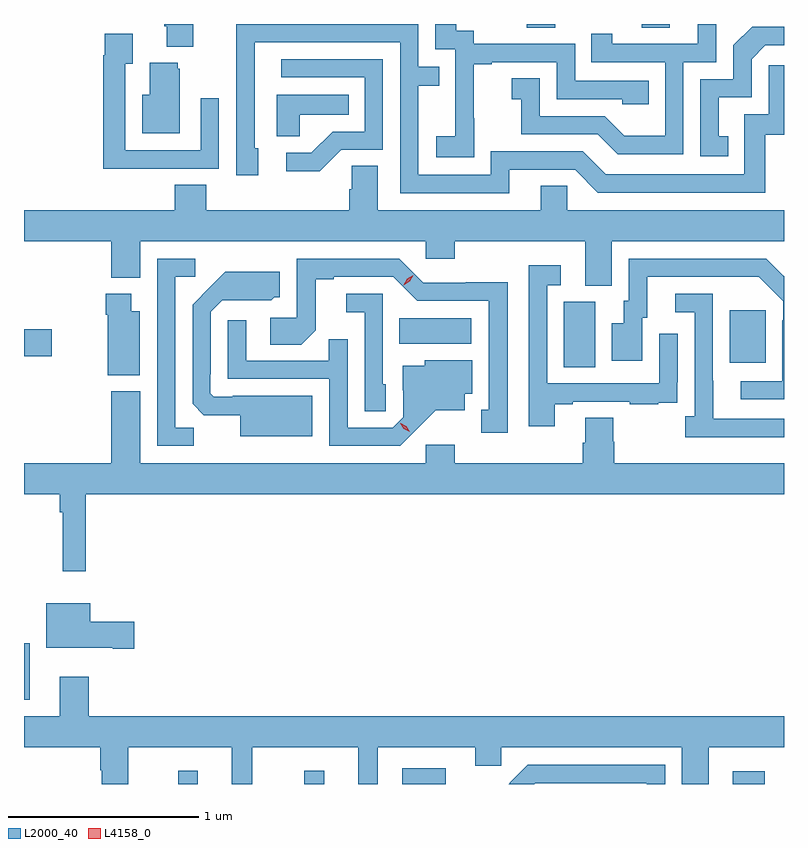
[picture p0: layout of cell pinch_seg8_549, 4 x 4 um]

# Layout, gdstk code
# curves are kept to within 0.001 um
import gdstk
lib = gdstk.Library(unit=1e-6, precision=1e-09)
def R(c, l, rs):  # rectangles x0, y0, x1, y1
    for r in rs: c.add(gdstk.rectangle(r[:2], r[2:], *l))
def P(c, l, *ps):  # polygons
    for p in ps: c.add(gdstk.Polygon(p, *l))
L2000_40 = (2000, 40)
L4158_0 = (4158, 0)

pinch_seg8_549 = lib.new_cell('pinch_seg8_549')
R(pinch_seg8_549, L2000_40, [(135.095,1120.303,135.199,1120.372), (135.759,1120.303,135.865,1120.372), (136.275,1120.303,136.504,1120.387), (138.015,1120.303,138.183,1120.369), (134.284,1120.746,134.314,1121.043), (137.126,1122.496,137.29,1122.84), (137.999,1122.521,138.187,1122.796), (134.284,1122.554,134.431,1122.696), (136.258,1122.62,136.639,1122.754), (136.931,1124.284,137.079,1124.303), (137.536,1124.284,137.683,1124.303)])
P(pinch_seg8_549, L2000_40, [(136.653,1123.807),(136.652,1123.807),(136.652,1124.091),(136.747,1124.091),(136.747,1124.103),(137.088,1124.103),(137.088,1123.908),(137.433,1123.908),(137.433,1123.881),(137.573,1123.881),(137.573,1124.004),(137.184,1124.004),(137.184,1124.199),(136.65,1124.199),(136.65,1124.268),(136.558,1124.268),(136.558,1124.303),(136.449,1124.303),(136.449,1124.169),(136.554,1124.169),(136.554,1123.94),(136.553,1123.94),(136.553,1123.711),(136.455,1123.711),(136.455,1123.601),(136.653,1123.601)],
  [(137.754,1124.103),(137.928,1124.103),(137.928,1124.303),(137.831,1124.303),(137.831,1124.199),(137.38,1124.199),(137.38,1124.251),(137.269,1124.251),(137.269,1124.103),(137.658,1124.103),(137.658,1123.714),(137.444,1123.714),(137.34,1123.818),(136.998,1123.818),(136.998,1124.017),(136.851,1124.017),(136.851,1123.907),(136.9,1123.907),(136.9,1123.722),(137.303,1123.722),(137.408,1123.617),(137.754,1123.617)],
  [(136.837,1123.536),(137.184,1123.536),(137.304,1123.416),(138.184,1123.416),(138.184,1123.719),(138.284,1123.719),(138.284,1124.086),(138.204,1124.086),(138.204,1123.827),(138.075,1123.827),(138.075,1123.512),(137.346,1123.512),(137.226,1123.632),(136.74,1123.632),(136.74,1123.509),(136.359,1123.509),(136.359,1123.978),(136.469,1123.978),(136.469,1124.079),(136.359,1124.079),(136.359,1124.303),(135.4,1124.303),(135.4,1123.999),(135.402,1123.999),(135.402,1123.506),(135.517,1123.506),(135.517,1123.65),(135.498,1123.65),(135.498,1124.208),(136.263,1124.208),(136.263,1123.413),(136.837,1123.413)],
  [(135.175,1124.303),(135.023,1124.303),(135.023,1124.29),(135.035,1124.29),(135.035,1124.183),(135.175,1124.183)],
  [(137.99,1123.713),(137.941,1123.713),(137.941,1123.917),(138.114,1123.917),(138.114,1124.118),(138.186,1124.19),(138.284,1124.19),(138.284,1124.288),(138.116,1124.288),(138.018,1124.19),(138.018,1124.013),(137.844,1124.013),(137.844,1123.608),(137.99,1123.608)],
  [(134.993,1123.542),(135.309,1123.542),(135.309,1123.912),(135.213,1123.912),(135.213,1123.638),(134.817,1123.638),(134.817,1124.095),(134.857,1124.095),(134.857,1124.251),(134.709,1124.251),(134.709,1124.138),(134.701,1124.138),(134.701,1123.541),(134.993,1123.541)],
  [(135.954,1123.641),(136.173,1123.641),(136.173,1124.118),(135.639,1124.118),(135.639,1124.022),(136.077,1124.022),(136.077,1123.737),(135.908,1123.737),(135.797,1123.626),(135.663,1123.626),(135.663,1123.529),(135.841,1123.529)],
  [(135.103,1124.067),(135.092,1124.067),(135.092,1124.098),(134.945,1124.098),(134.945,1123.93),(134.906,1123.93),(134.906,1123.727),(135.103,1123.727)],
  [(135.735,1123.826),(135.992,1123.826),(135.992,1123.93),(135.614,1123.93),(135.614,1123.711),(135.735,1123.711)],
  [(137.377,1123.16),(138.284,1123.16),(138.284,1123.324),(137.142,1123.324),(137.142,1123.451),(137.003,1123.451),(137.003,1123.324),(136.147,1123.324),(136.147,1123.556),(136.008,1123.556),(136.008,1123.433),(135.995,1123.433),(135.995,1123.324),(135.242,1123.324),(135.242,1123.457),(135.077,1123.457),(135.077,1123.324),(134.284,1123.324),(134.284,1123.16),(134.744,1123.16),(134.744,1122.968),(134.896,1122.968),(134.896,1123.16),(136.398,1123.16),(136.398,1123.067),(136.55,1123.067),(136.55,1123.16),(137.237,1123.16),(137.237,1122.925),(137.377,1122.925)],
  [(136.831,1122.944),(136.608,1122.944),(136.608,1122.942),(136.386,1122.942),(136.26,1123.068),(135.72,1123.068),(135.72,1122.756),(135.579,1122.756),(135.579,1122.616),(135.743,1122.616),(135.819,1122.692),(135.819,1122.96),(135.913,1122.96),(135.913,1122.972),(136.227,1122.972),(136.353,1122.846),(136.73,1122.846),(136.73,1122.273),(136.691,1122.273),(136.691,1122.153),(136.831,1122.153)],
  [(135.177,1122.179),(135.081,1122.179),(135.081,1122.972),(135.184,1122.972),(135.184,1123.068),(134.985,1123.068),(134.985,1122.084),(135.177,1122.084)],
  [(138.284,1122.976),(138.282,1122.978),(138.281,1122.977),(138.19,1123.068),(137.466,1123.068),(137.466,1122.846),(137.441,1122.846),(137.441,1122.727),(137.378,1122.727),(137.378,1122.531),(137.539,1122.531),(137.539,1122.756),(137.563,1122.756),(137.563,1122.972),(138.151,1122.972),(138.279,1122.843),(138.279,1122.743),(138.276,1122.743),(138.276,1122.423),(138.057,1122.423),(138.057,1122.327),(138.284,1122.327)],
  [(137.077,1122.303),(137.173,1122.303),(137.173,1122.315),(137.473,1122.315),(137.473,1122.303),(137.621,1122.303),(137.621,1122.309),(137.723,1122.309),(137.723,1122.418),(137.724,1122.418),(137.724,1122.673),(137.628,1122.673),(137.628,1122.411),(137.037,1122.411),(137.037,1122.927),(137.11,1122.927),(137.11,1123.033),(136.941,1123.033),(136.941,1122.186),(137.077,1122.186)],
  [(135.802,1122.346),(135.382,1122.346),(135.382,1122.342),(135.282,1122.342),(135.264,1122.36),(135.264,1122.46),(135.267,1122.46),(135.267,1122.789),(135.327,1122.849),(135.584,1122.848),(135.6,1122.864),(135.631,1122.864),(135.631,1123),(135.343,1123),(135.171,1122.826),(135.171,1122.304),(135.23,1122.245),(135.422,1122.245),(135.422,1122.134),(135.802,1122.134)],
  [(134.893,1122.79),(134.848,1122.79),(134.848,1122.883),(134.714,1122.883),(134.714,1122.773),(134.726,1122.773),(134.726,1122.455),(134.893,1122.455)],
  [(136.188,1122.408),(136.173,1122.408),(136.173,1122.882),(135.981,1122.882),(135.981,1122.785),(136.077,1122.785),(136.077,1122.265),(136.188,1122.265)],
  [(138.284,1122.225),(137.911,1122.225),(137.911,1122.425),(137.91,1122.425),(137.91,1122.882),(137.712,1122.882),(137.712,1122.786),(137.814,1122.786),(137.814,1122.238),(137.763,1122.238),(137.763,1122.128),(138.284,1122.128)],
  [(136.348,1122.167),(136.451,1122.269),(136.603,1122.269),(136.603,1122.356),(136.642,1122.356),(136.642,1122.532),(136.392,1122.532),(136.392,1122.505),(136.277,1122.505),(136.277,1122.376),(136.281,1122.376),(136.281,1122.234),(136.224,1122.177),(135.987,1122.177),(135.987,1122.644),(135.889,1122.644),(135.889,1122.531),(135.453,1122.531),(135.453,1122.745),(135.357,1122.745),(135.357,1122.435),(135.891,1122.435),(135.891,1122.084),(136.264,1122.084)],
  [(134.609,1121.828),(138.284,1121.828),(138.284,1121.992),(137.39,1121.992),(137.39,1122.105),(137.385,1122.105),(137.385,1122.23),(137.237,1122.23),(137.237,1122.098),(137.225,1122.098),(137.225,1121.992),(136.55,1121.992),(136.55,1122.088),(136.398,1122.088),(136.398,1121.992),(134.896,1121.992),(134.896,1122.37),(134.744,1122.37),(134.744,1121.992),(134.284,1121.992),(134.284,1121.828),(134.473,1121.828),(134.473,1121.732),(134.488,1121.732),(134.488,1121.424),(134.609,1121.424)],
  [(134.863,1121.156),(134.632,1121.156),(134.632,1121.254),(134.402,1121.254),(134.402,1121.021),(134.75,1121.021),(134.75,1121.014),(134.863,1121.014)],
  [(134.833,1120.496),(135.377,1120.496),(135.377,1120.303),(135.484,1120.303),(135.484,1120.496),(136.043,1120.496),(136.043,1120.303),(136.147,1120.303),(136.147,1120.496),(136.658,1120.496),(136.658,1120.398),(136.797,1120.398),(136.797,1120.496),(137.747,1120.496),(137.747,1120.303),(137.887,1120.303),(137.887,1120.496),(138.284,1120.496),(138.284,1120.66),(134.624,1120.66),(134.624,1120.867),(134.471,1120.867),(134.471,1120.66),(134.284,1120.66),(134.284,1120.496),(134.686,1120.496),(134.686,1120.376),(134.693,1120.376),(134.693,1120.303),(134.833,1120.303)],
  [(136.974,1120.308),(137.561,1120.308),(137.561,1120.303),(137.658,1120.303),(137.658,1120.404),(136.934,1120.404),(136.843,1120.313),(136.844,1120.312),(136.835,1120.303),(136.969,1120.303)])
P(pinch_seg8_549, L4158_0, [(136.283,1122.929),(136.283,1122.93),(136.3,1122.962),(136.332,1122.981),(136.333,1122.981),(136.333,1122.981),(136.315,1122.948),(136.283,1122.929)],
  [(136.314,1122.158),(136.283,1122.172),(136.265,1122.201),(136.265,1122.202),(136.266,1122.202),(136.296,1122.187),(136.314,1122.158),(136.314,1122.158)])

lib.write_gds('pinch_seg8_549.gds')
